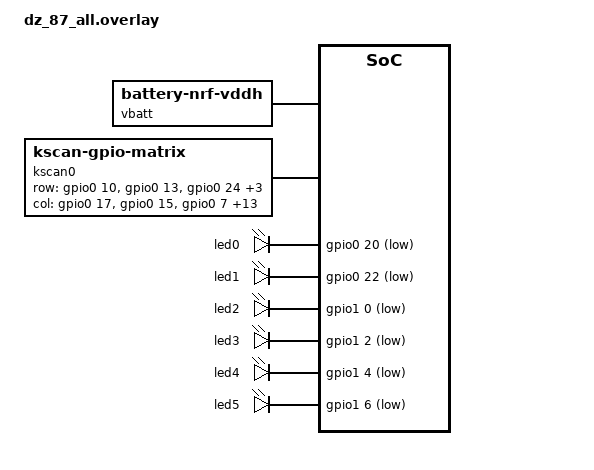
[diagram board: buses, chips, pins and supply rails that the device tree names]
#include <dt-bindings/gpio/gpio.h>
#include "dz_87_all-layouts.dtsi"

/ {
    chosen {
        zmk,kscan = &kscan0;
        zmk,battery = <&vbatt>;
        zmk,physical-layout = <&dz87_all>;
    };

    // NOTE: this shield is a variant of dz_87 that exposes ALL 94 switch
    // positions at once. It must be kept in sync with dz_87 (matrix, LEDs,
    // battery) — it exists as a separate shield because ZMK requires every
    // physical-layout-position-map in one firmware to have the SAME number of
    // entries, so the 94-entry ALL map cannot live next to the 88-entry
    // 625/7u maps.

    vbatt: vbatt {
        compatible = "zmk,battery-nrf-vddh";
    };

    kscan0: kscan {
        compatible = "zmk,kscan-gpio-matrix";
        wakeup-source;
        debounce-press-ms = <5>;
        debounce-release-ms = <5>;

        diode-direction = "col2row";

        row-gpios
            = <&gpio0 10 (GPIO_ACTIVE_HIGH | GPIO_PULL_DOWN)>   // R0
            , <&gpio0 13 (GPIO_ACTIVE_HIGH | GPIO_PULL_DOWN)>   // R1
            , <&gpio0 24 (GPIO_ACTIVE_HIGH | GPIO_PULL_DOWN)>   // R2
            , <&gpio0  9 (GPIO_ACTIVE_HIGH | GPIO_PULL_DOWN)>   // R3
            , <&gpio0 28 (GPIO_ACTIVE_HIGH | GPIO_PULL_DOWN)>   // R4
            , <&gpio1 10 (GPIO_ACTIVE_HIGH | GPIO_PULL_DOWN)>   // R5
            ;

        col-gpios
            = <&gpio0 17 GPIO_ACTIVE_HIGH>   // C0
            , <&gpio0 15 GPIO_ACTIVE_HIGH>   // C1
            , <&gpio0  7 GPIO_ACTIVE_HIGH>   // C2
            , <&gpio1  9 GPIO_ACTIVE_HIGH>   // C3
            , <&gpio0  5 GPIO_ACTIVE_HIGH>   // C4
            , <&gpio0 12 GPIO_ACTIVE_HIGH>   // C5
            , <&gpio0  4 GPIO_ACTIVE_HIGH>   // C6
            , <&gpio0  8 GPIO_ACTIVE_HIGH>   // C7
            , <&gpio0  6 GPIO_ACTIVE_HIGH>   // C8
            , <&gpio0 26 GPIO_ACTIVE_HIGH>   // C9
            , <&gpio0 30 GPIO_ACTIVE_HIGH>   // C10
            , <&gpio0 29 GPIO_ACTIVE_HIGH>   // C11
            , <&gpio0  2 GPIO_ACTIVE_HIGH>   // C12
            , <&gpio1 13 GPIO_ACTIVE_HIGH>   // C13
            , <&gpio0  3 GPIO_ACTIVE_HIGH>   // C14
            , <&gpio1 11 GPIO_ACTIVE_HIGH>   // C15
            ;
    };

    leds {
        compatible = "gpio-leds";
        label = "CZM DZ 87 indicator LEDs";
        led0: led_0 { gpios = <&gpio0 20 GPIO_ACTIVE_LOW>; };  // CapsLock
        led1: led_1 { gpios = <&gpio0 22 GPIO_ACTIVE_LOW>; };  // ScrollLock
        led2: led_2 { gpios = <&gpio1  0 GPIO_ACTIVE_LOW>; };  // BLE profile 1
        led3: led_3 { gpios = <&gpio1  2 GPIO_ACTIVE_LOW>; };  // BLE profile 2
        led4: led_4 { gpios = <&gpio1  4 GPIO_ACTIVE_LOW>; };  // BLE profile 3
        led5: led_5 { gpios = <&gpio1  6 GPIO_ACTIVE_LOW>; };  // USB output
    };
};
